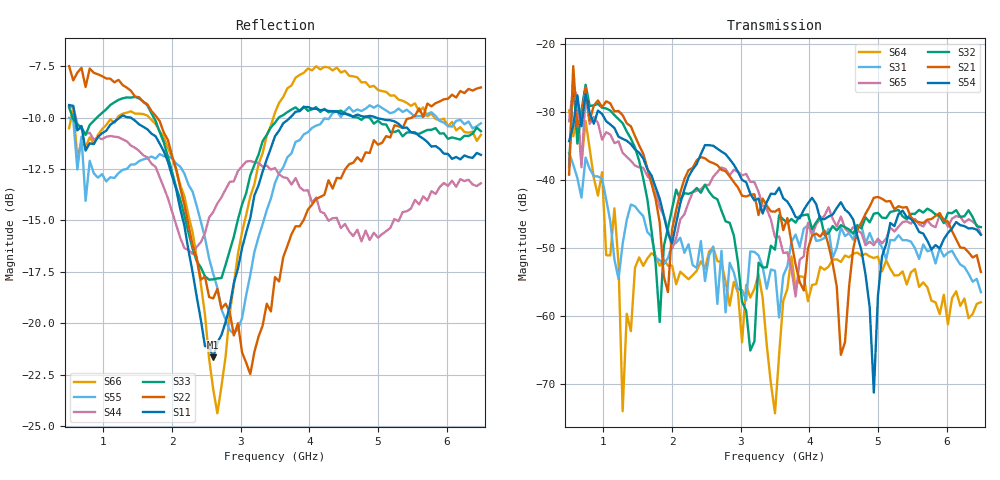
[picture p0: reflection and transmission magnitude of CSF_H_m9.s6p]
!Keysight Technologies,M9804A,MY58100912,A.14.10.03
!Date: Thursday, April 27, 2023 10:28:33
!Correction: S11(C  6-Port  )
!S12(C  6-Port  )
!S13(C  6-Port  )
!S14(C  6-Port  )
!S15(C  6-Port  )
!S16(C  6-Port  )
!S21(C  6-Port  )
!S22(C  6-Port  )
!S23(C  6-Port  )
!S24(C  6-Port  )
!S25(C  6-Port  )
!S26(C  6-Port  )
!S31(C  6-Port  )
!S32(C  6-Port  )
!S33(C  6-Port  )
!S34(C  6-Port  )
!S35(C  6-Port  )
!S36(C  6-Port  )
!S41(C  6-Port  )
!S42(C  6-Port  )
!S43(C  6-Port  )
!S44(C  6-Port  )
!S45(C  6-Port  )
!S46(C  6-Port  )
!S51(C  6-Port  )
!S52(C  6-Port  )
!S53(C  6-Port  )
!S54(C  6-Port  )
!S55(C  6-Port  )
!S56(C  6-Port  )
!S61(C  6-Port  )
!S62(C  6-Port  )
!S63(C  6-Port  )
!S64(C  6-Port  )
!S65(C  6-Port  )
!S66(C  6-Port  )
!S6P File: Measurement: :
# Hz S  RI  R 50
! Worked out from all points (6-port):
!   101 points, 500 MHz to 6.5 GHz, reference 50 ohm
!   strongest paths, dB at 500 MHz, 2 GHz, 3.5 GHz, 5 GHz, 6.5 GHz:
!     S54: -34.3, -49.3, -42.1, -57.0, -48.1
!     S21: -39.2, -47.3, -44.7, -42.5, -53.5
!     S32: -38.0, -44.2, -50.2, -44.8, -46.9
!     S65: -31.4, -50.1, -48.4, -48.6, -48.0
!     S31: -36.0, -49.6, -53.3, -49.0, -56.5
!     S64: -29.8, -52.6, -74.3, -51.3, -58.0
!   lowest |S11| = -21.7 dB at 2.6 GHz (marker M1), VSWR 1.18, Z = 42.6 + j2.03 ohm
!   |S11| at or under -10 dB: 589 MHz to 1.237 GHz (647.6 MHz wide, 70.9 % of centre); 1.401 GHz to 3.718 GHz (2.317 GHz wide, 90.5 % of centre); 4.976 GHz to end of sweep
